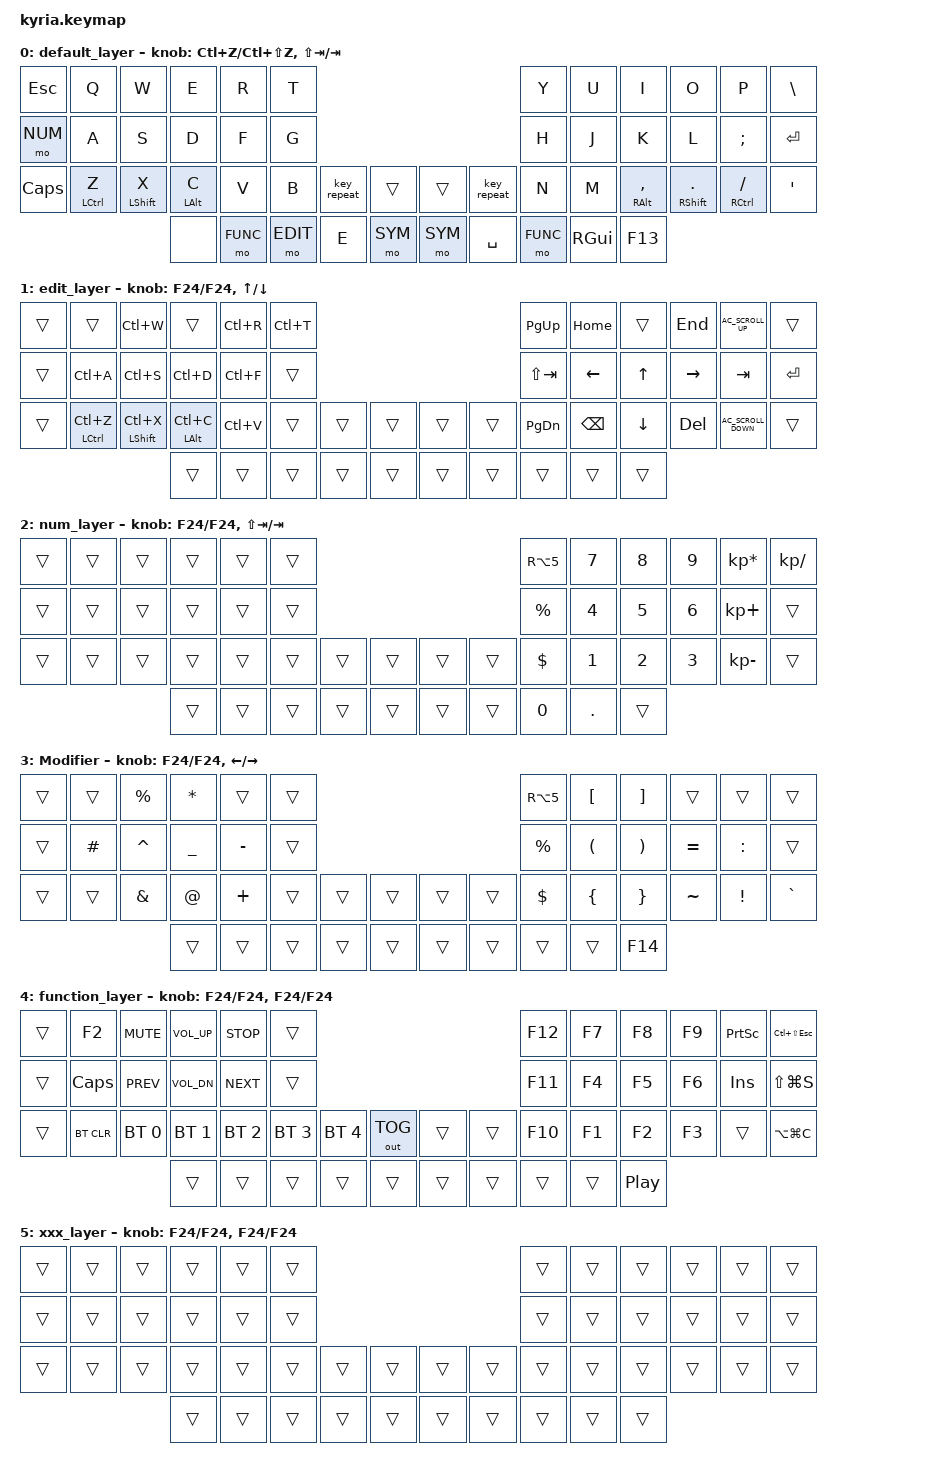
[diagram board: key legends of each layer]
/*
 * Copyright (c) 2020 The ZMK Contributors
 *
 * SPDX-License-Identifier: MIT
 */


#define BASE    0
#define EDIT    1
#define NUM     2
#define SYM     3
#define FUNC    4
#define XXX     5


#include <behaviors.dtsi>
#include <dt-bindings/zmk/keys.h>
#include <dt-bindings/zmk/bt.h>
#include <dt-bindings/zmk/outputs.h>


&left_encoder {
    resolution = <2>;
};

&right_encoder {
    resolution = <2>;
};


/ {
	behaviors {
        hm: homerow_mods {
            compatible = "zmk,behavior-hold-tap";
            label = "HOMEROW_MODS";
            #binding-cells = <2>;
            tapping-term-ms = <150>;
            quick-tap-ms = <0>;
            flavor = "balanced";
            bindings = <&kp>, <&kp>;
        };

//  ___________________________________         KEY INDICES        ___________________________________ 
// |  0  |  1  |  2  |  3  |  4  |  5  |                          |  6  |  7  |  8  |  9  | 10  | 11  |
// | 12  | 13  | 14  | 15  | 16  | 17  |                          | 18  | 19  | 20  | 21  | 22  | 23  |
// | 24  | 25  | 26  | 27  | 28  | 29  | 30  | 31  |  |  32 | 33  | 34  | 35  | 36  | 37  | 38  | 39  |
//                   | 40  | 41  | 42  | 43  | 44  |  |  45 | 46  | 47  | 48  | 49  |
//                     ◌                                                         ◌ 

        hml: right_hand_positional_hold_tap {
            compatible = "zmk,behavior-hold-tap";
            label = "POSITIONAL_HOLD_TAP";
            #binding-cells = <2>;
            flavor = "balanced";
            tapping-term-ms = <200>;
            quick-tap-ms = <200>;
    		global-quick-tap;
            bindings = <&kp>, <&kp>;
            hold-trigger-key-positions = <6 7 8 9 10 11 18 19 20 21 22 23 34 35 36 37 38 39>;
        };

        hmr: left_hand_positional_hold_tap {
            compatible = "zmk,behavior-hold-tap";
            label = "POSITIONAL_HOLD_TAP";
            #binding-cells = <2>;
            flavor = "balanced";
            tapping-term-ms = <200>;
            quick-tap-ms = <200>;
    		global-quick-tap;
            bindings = <&kp>, <&kp>;
            hold-trigger-key-positions = <0 1 2 3 4 5 12 13 14 15 16 17 24 25 26 27 28 29>;
        };
    };

    keymap {
		compatible = "zmk,keymap";

		default_layer {
			bindings = <

//  ___________________________________            BASE            ___________________________________ 
// | ESC |  Q  |  W  |  E  |  R  |  T  |                          |  Y  |  U  |  I  |  O  |  P  |  \  |
// | _NU |  A  |  S  |  D  |  F  |  G  |___________    ___________|  H  |  J  |  K  |  L  |  ;  | RET |
// |CAPS | cZ  | sX  | aC  |  V  |  B  | REP |     |  |     | REP |  N  |  M  | a,  | s.  | c/  |  '  |
//                   |     | _FN | _ED |  E  | _SY |  | _SY | SPC | _FN | GUI | F13 |
//                 undo ◌ redo                                              tabL ◌ tabR

	&kp ESC  &kp Q       &kp W       &kp E      &kp R    &kp T                                             &kp Y    &kp U    &kp I          &kp O         &kp P          &kp BSLH
	&mo NUM  &kp A       &kp S       &kp D      &kp F    &kp G                                             &kp H    &kp J    &kp K          &kp L         &kp SEMI       &kp RET
	&kp CAPS &hm LCTRL Z &hm LSHFT X &hm LALT C &kp V    &kp B    &key_repeat &trans   &trans  &key_repeat &kp N    &kp M    &hm RALT COMMA &hm RSHFT DOT &hm RCTRL FSLH &kp SQT
	                                 &none      &mo FUNC &mo EDIT &kp E       &mo SYM  &mo SYM &kp SPACE   &mo FUNC &kp RGUI &kp F13
			>;

			sensor-bindings = <&inc_dec_kp LC(Z) LC(LS(Z)) &inc_dec_kp LS(TAB) TAB>;
		};



		edit_layer {
			bindings = <

//  ___________________________________          TEXT EDIT         ___________________________________ 
// |     |     |CLOSE|     | RLD | TAB |                          |PG_UP|HOME |     | END |scrl+|     |
// |     | SEL |SAVE |DUPE |FIND |     |___________    ___________|sTAB |  ←  |  ↑  |  →  | TAB | RET |
// |     |cUNDO|sCUT |aCOPY|PASTE|     |     |     |  |     |     |PG_DN|BSPC |  ↓  | DEL |scrl-|     |
//                   |     |     |     |     |     |  |     |     |     |     |     |
//                      ◌                                                      ↑ ◌ ↓

	&trans &trans          &kp LC(W)       &trans         &kp LC(R) &kp LC(T)                             &kp PG_UP   &kp HOME &trans   &kp END   &kp C_AC_SCROLL_UP   &trans
	&trans &kp LC(A)       &kp LC(S)       &kp LC(D)      &kp LC(F) &trans                                &kp LS(TAB) &kp LEFT &kp UP   &kp RIGHT &kp TAB              &kp RET
	&trans &hm LCTRL LC(Z) &hm LSHFT LC(X) &hm LALT LC(C) &kp LC(V) &trans   &trans &trans  &trans &trans &kp PG_DN   &kp BSPC &kp DOWN &kp DEL   &kp C_AC_SCROLL_DOWN &trans
	                                       &trans         &trans    &trans   &trans &trans  &trans &trans &trans      &trans   &trans
			>;

			sensor-bindings = <&inc_dec_kp F24 F24 &inc_dec_kp UP DOWN>;
		};



		num_layer {
			bindings = <

//  ___________________________________           NUMBERS         ____________________________________ 
// |     |     |     |     |     |     |                          |  €  |  7  |  8  |  9  |  *  |  /  |
// |     |     |     |     |     |     |___________    ___________|  %  |  4  |  5  |  6  |  +  |     |
// |     |     |     |     |     |     |     |     |  |     |     |  $  |  1  |  2  |  3  |  -  |     |
//                   |     |     |     |     |     |  |     |     |  0  |  .  |     |
//                      ◌                                                   tabL ◌ tabR

	&trans &trans &trans &trans &trans &trans                              &kp RA(N5) &kp N7 &kp N8 &kp N9 &kp KP_MULTIPLY &kp KP_DIVIDE
	&trans &trans &trans &trans &trans &trans                              &kp PRCNT  &kp N4 &kp N5 &kp N6 &kp KP_PLUS     &trans    
	&trans &trans &trans &trans &trans &trans &trans &trans  &trans &trans &kp DLLR   &kp N1 &kp N2 &kp N3 &kp KP_MINUS    &trans
	                     &trans &trans &trans &trans &trans  &trans &trans &kp N0     &kp DOT    &trans
			>;

			sensor-bindings = <&inc_dec_kp F24 F24 &inc_dec_kp LS(TAB) TAB>;
		};



		symbol_layer {
            label = "Modifier";
            bindings = <

//  ___________________________________           SYMBOLS          ___________________________________ 
// |     |     |     |  *  |     |     |                          |  €  |  [  |  ]  |     |     |     |
// |     |  #  |  ^  |  _  |  -  |     |___________    ___________|  %  |  (  |  )  |  =  |  :  |     |
// |     |     |  &  |  @  |  +  |     |     |     |  |     |     |  $  |  {  |  }  |  ~  |  !  |  `  |
//                   |     |     |     |     |     |  |     |     |     |     | F14 |
//                      ◌                                                      ← ◌ →

    &trans &trans   &kp PRCNT &kp STAR  &trans    &trans                              &kp RA(N5) &kp LBKT &kp RBKT &trans    &trans    &trans
    &trans &kp HASH &kp CARET &kp UNDER &kp MINUS &trans                              &kp PRCNT  &kp LPAR &kp RPAR &kp EQUAL &kp COLON &trans
    &trans &trans   &kp AMPS  &kp AT    &kp PLUS  &trans &trans &trans  &trans &trans &kp DLLR   &kp LBRC &kp RBRC &kp TILDE &kp EXCL  &kp GRAVE
                              &trans    &trans    &trans &trans &trans  &trans &trans &trans     &trans   &kp F14
            >;

            sensor-bindings = <&inc_dec_kp F24 F24 &inc_dec_kp LEFT RIGHT>;
        };



		function_layer {
			bindings = <

//  ___________________________________          FUNCTIONS         ___________________________________ 
// |     | F2  |mute | V+  | stp |  @  |                          | F12 | F7  | F8  | F9  |Print|TASK |
// |     |caps |Prev | V-  |Next | @p  |___________    ___________| F11 | F4  | F5  | F6  | Ins |SNIP |
// |     |/Ble |Ble0 |Ble1 |Ble2 |Ble3 |Ble4 |     |  |     |     | F10 | F1  | F2  | F3  |     |FIXV |
//                   |     |     |     |     |     |  |     |     |     |     |PLAYP|
//                      ◌                                                        ◌ 

	&trans &kp F2     &kp C_MUTE   &kp C_VOL_UP &kp C_STOP   &trans                                                &kp F12 &kp F7 &kp F8 &kp F9 &kp PSCRN &kp LC(LS(ESC))
	&trans &kp CAPS   &kp C_PREV   &kp C_VOL_DN &kp C_NEXT   &trans                                                &kp F11 &kp F4 &kp F5 &kp F6 &kp INS   &kp LS(LG(S))  
	&trans &bt BT_CLR &bt BT_SEL 0 &bt BT_SEL 1 &bt BT_SEL 2 &bt BT_SEL 3 &bt BT_SEL 4 &out OUT_TOG  &trans &trans &kp F10 &kp F1 &kp F2 &kp F3 &trans    &kp LA(LG(C))  
	                               &trans       &trans       &trans       &trans       &trans        &trans &trans &trans  &trans &kp C_PP
			>;

			sensor-bindings = <&inc_dec_kp F24 F24 &inc_dec_kp F24 F24>;
		};



		xxx_layer {
			bindings = <

//  ___________________________________           XXXXXX           ___________________________________ 
// |     |     |     |     |     |     |                          |     |     |     |     |     |     |
// |     |     |     |     |     |     |___________    ___________|     |     |     |     |     |     |
// |     |     |     |     |     |     |     |     |  |     |     |     |     |     |     |     |     |
//                   |     |     |     |     |     |  |     |     |     |     |     |
//                      ◌                                                        ◌ 

	&trans &trans &trans &trans &trans &trans                              &trans &trans &trans &trans &trans &trans
	&trans &trans &trans &trans &trans &trans                              &trans &trans &trans &trans &trans &trans
	&trans &trans &trans &trans &trans &trans &trans &trans  &trans &trans &trans &trans &trans &trans &trans &trans
	                     &trans &trans &trans &trans &trans  &trans &trans &trans &trans &trans
			>;

			sensor-bindings = <&inc_dec_kp F24 F24 &inc_dec_kp F24 F24>;
		};
	};
};
